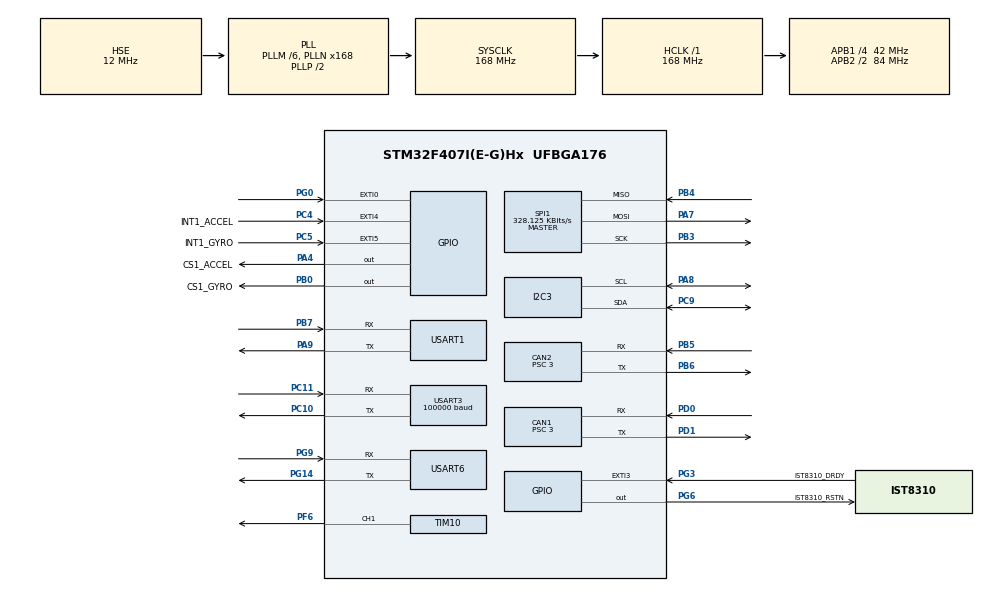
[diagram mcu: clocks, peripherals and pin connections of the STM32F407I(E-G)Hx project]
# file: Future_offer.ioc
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CAN1.BS1=CAN_BS1_10TQ
CAN1.BS2=CAN_BS2_3TQ
CAN1.CalculateBaudRate=1000000
CAN1.CalculateTimeBit=1000
CAN1.CalculateTimeQuantum=71.42857142857143
CAN1.Prescaler=3
CAN2.BS1=CAN_BS1_10TQ
CAN2.BS2=CAN_BS2_3TQ
CAN2.CalculateBaudRate=1000000
CAN2.CalculateTimeBit=1000
CAN2.CalculateTimeQuantum=71.42857142857143
CAN2.Prescaler=3
Dma.Request0=USART3_RX
Dma.Request1=USART6_RX
Dma.Request2=USART6_TX
Dma.Request3=USART1_TX
Dma.Request4=SPI1_RX
Dma.Request5=SPI1_TX
Dma.SPI1_RX.4.Direction=DMA_PERIPH_TO_MEMORY
Dma.SPI1_RX.4.FIFOMode=DMA_FIFOMODE_DISABLE
Dma.SPI1_RX.4.Instance=DMA2_Stream2
Dma.SPI1_RX.4.MemDataAlignment=DMA_MDATAALIGN_BYTE
Dma.SPI1_RX.4.MemInc=DMA_MINC_ENABLE
Dma.SPI1_RX.4.Mode=DMA_NORMAL
Dma.SPI1_RX.4.PeriphDataAlignment=DMA_PDATAALIGN_BYTE
Dma.SPI1_RX.4.PeriphInc=DMA_PINC_DISABLE
Dma.SPI1_RX.4.Priority=DMA_PRIORITY_VERY_HIGH
Dma.SPI1_TX.5.Direction=DMA_MEMORY_TO_PERIPH
Dma.SPI1_TX.5.FIFOMode=DMA_FIFOMODE_DISABLE
Dma.SPI1_TX.5.Instance=DMA2_Stream3
Dma.SPI1_TX.5.MemDataAlignment=DMA_MDATAALIGN_BYTE
Dma.SPI1_TX.5.MemInc=DMA_MINC_ENABLE
Dma.SPI1_TX.5.Mode=DMA_NORMAL
Dma.SPI1_TX.5.PeriphDataAlignment=DMA_PDATAALIGN_BYTE
Dma.SPI1_TX.5.PeriphInc=DMA_PINC_DISABLE
Dma.SPI1_TX.5.Priority=DMA_PRIORITY_HIGH
Dma.USART1_TX.3.Direction=DMA_MEMORY_TO_PERIPH
Dma.USART1_TX.3.FIFOMode=DMA_FIFOMODE_DISABLE
Dma.USART1_TX.3.Instance=DMA2_Stream7
Dma.USART1_TX.3.MemDataAlignment=DMA_MDATAALIGN_BYTE
Dma.USART1_TX.3.MemInc=DMA_MINC_ENABLE
Dma.USART1_TX.3.Mode=DMA_NORMAL
Dma.USART1_TX.3.PeriphDataAlignment=DMA_PDATAALIGN_BYTE
Dma.USART1_TX.3.PeriphInc=DMA_PINC_DISABLE
Dma.USART1_TX.3.Priority=DMA_PRIORITY_MEDIUM
Dma.USART3_RX.0.Direction=DMA_PERIPH_TO_MEMORY
Dma.USART3_RX.0.FIFOMode=DMA_FIFOMODE_DISABLE
Dma.USART3_RX.0.Instance=DMA1_Stream1
Dma.USART3_RX.0.MemDataAlignment=DMA_MDATAALIGN_BYTE
Dma.USART3_RX.0.MemInc=DMA_MINC_ENABLE
Dma.USART3_RX.0.Mode=DMA_CIRCULAR
Dma.USART3_RX.0.PeriphDataAlignment=DMA_PDATAALIGN_BYTE
Dma.USART3_RX.0.PeriphInc=DMA_PINC_DISABLE
Dma.USART3_RX.0.Priority=DMA_PRIORITY_HIGH
Dma.USART6_RX.1.Direction=DMA_PERIPH_TO_MEMORY
Dma.USART6_RX.1.FIFOMode=DMA_FIFOMODE_DISABLE
Dma.USART6_RX.1.Instance=DMA2_Stream1
Dma.USART6_RX.1.MemDataAlignment=DMA_MDATAALIGN_BYTE
Dma.USART6_RX.1.MemInc=DMA_MINC_ENABLE
Dma.USART6_RX.1.Mode=DMA_NORMAL
Dma.USART6_RX.1.PeriphDataAlignment=DMA_PDATAALIGN_BYTE
Dma.USART6_RX.1.PeriphInc=DMA_PINC_DISABLE
Dma.USART6_RX.1.Priority=DMA_PRIORITY_HIGH
Dma.USART6_TX.2.Direction=DMA_MEMORY_TO_PERIPH
Dma.USART6_TX.2.FIFOMode=DMA_FIFOMODE_DISABLE
Dma.USART6_TX.2.Instance=DMA2_Stream6
Dma.USART6_TX.2.MemDataAlignment=DMA_MDATAALIGN_BYTE
Dma.USART6_TX.2.MemInc=DMA_MINC_ENABLE
Dma.USART6_TX.2.Mode=DMA_NORMAL
Dma.USART6_TX.2.PeriphDataAlignment=DMA_PDATAALIGN_BYTE
Dma.USART6_TX.2.PeriphInc=DMA_PINC_DISABLE
Dma.USART6_TX.2.Priority=DMA_PRIORITY_MEDIUM
FREERTOS.INCLUDE_eTaskGetState=1
FREERTOS.INCLUDE_pcTaskGetTaskName=1
FREERTOS.INCLUDE_uxTaskGetStackHighWaterMark=1
FREERTOS.INCLUDE_uxTaskGetStackHighWaterMark2=1
FREERTOS.INCLUDE_vTaskCleanUpResources=1
FREERTOS.INCLUDE_vTaskDelayUntil=1
FREERTOS.INCLUDE_xQueueGetMutexHolder=1
FREERTOS.INCLUDE_xSemaphoreGetMutexHolder=1
FREERTOS.INCLUDE_xTaskAbortDelay=1
FREERTOS.INCLUDE_xTaskGetCurrentTaskHandle=1
FREERTOS.INCLUDE_xTaskGetHandle=1
FREERTOS.Tasks01=defaultTask,0,128,StartDefaultTask,Default,NULL,Dynamic,NULL,NULL;INS_TASK,3,512,INS_Task,Default,NULL,Dynamic,NULL,NULL;CHASSISR_TASK,1,512,ChassiR_Task,Default,NULL,Dynamic,NULL,NULL;CHASSISL_TASK,1,512,ChassisrL_Task,Default,NULL,Dynamic,NULL,NULL;OBSERVE_TASK,2,512,OBSERVE_Task,Default,NULL,Dynamic,NULL,NULL;DT7_TASK,1,128,DT7_Task,Default,NULL,Dynamic,NULL,NULL
I2C3.I2C_Mode=I2C_Fast
Mcu.Family=STM32F4
Mcu.Name=STM32F407I(E-G)Hx
Mcu.Package=UFBGA176
NVIC.CAN1_RX0_IRQn=true\:5\:0\:true\:false\:true\:true\:true\:true\:true
NVIC.CAN2_RX0_IRQn=true\:6\:0\:true\:false\:true\:true\:true\:true\:true
NVIC.DMA1_Stream1_IRQn=true\:5\:0\:false\:false\:true\:true\:false\:true\:true
NVIC.DMA2_Stream1_IRQn=true\:5\:0\:false\:false\:true\:true\:false\:true\:true
NVIC.DMA2_Stream2_IRQn=true\:5\:0\:false\:false\:false\:true\:false\:true\:true
NVIC.DMA2_Stream3_IRQn=true\:5\:0\:true\:false\:false\:true\:false\:true\:true
NVIC.DMA2_Stream6_IRQn=true\:5\:0\:false\:false\:true\:true\:false\:true\:true
NVIC.DMA2_Stream7_IRQn=true\:5\:0\:false\:false\:true\:true\:false\:true\:true
NVIC.EXTI0_IRQn=true\:6\:0\:true\:false\:true\:true\:true\:true\:true
NVIC.EXTI3_IRQn=true\:5\:0\:false\:false\:true\:true\:true\:true\:true
NVIC.EXTI4_IRQn=true\:5\:0\:false\:false\:true\:true\:true\:true\:true
NVIC.EXTI9_5_IRQn=true\:5\:0\:false\:false\:true\:true\:true\:true\:true
NVIC.PriorityGroup=NVIC_PRIORITYGROUP_4
NVIC.TIM2_IRQn=true\:15\:0\:false\:false\:true\:false\:false\:true\:true
NVIC.TimeBase=TIM2_IRQn
NVIC.TimeBaseIP=TIM2
NVIC.USART1_IRQn=true\:5\:0\:false\:false\:true\:true\:true\:true\:true
NVIC.USART3_IRQn=true\:5\:0\:false\:false\:true\:true\:true\:true\:true
NVIC.USART6_IRQn=true\:5\:0\:false\:false\:true\:true\:false\:true\:true
PA13.Mode=Serial_Wire
PA13.Signal=SYS_JTMS-SWDIO
PA14.Mode=Serial_Wire
PA14.Signal=SYS_JTCK-SWCLK
PA4.GPIO_Label=CS1_ACCEL
PA4.GPIO_ModeDefaultOutputPP=GPIO_MODE_OUTPUT_PP
PA4.GPIO_PuPd=GPIO_PULLUP
PA4.GPIO_Speed=GPIO_SPEED_FREQ_HIGH
PA4.PinState=GPIO_PIN_SET
PA4.Signal=GPIO_Output
PA7.GPIO_PuPd=GPIO_PULLUP
PA7.Mode=Full_Duplex_Master
PA7.Signal=SPI1_MOSI
PA8.GPIO_Pu=GPIO_PULLUP
PA8.Mode=I2C
PA8.Signal=I2C3_SCL
PA9.Mode=Asynchronous
PA9.Signal=USART1_TX
PB0.GPIO_Label=CS1_GYRO
PB0.GPIO_PuPd=GPIO_PULLUP
PB0.GPIO_Speed=GPIO_SPEED_FREQ_HIGH
PB0.PinState=GPIO_PIN_SET
PB0.Signal=GPIO_Output
PB13.GPIO_PuPd=GPIO_PULLUP
PB13.Signal=SPI2_SCK
PB14.GPIO_PuPd=GPIO_PULLUP
PB14.Signal=SPI2_MISO
PB15.GPIO_PuPd=GPIO_PULLUP
PB15.Signal=SPI2_MOSI
PB3.GPIO_PuPd=GPIO_PULLUP
PB3.Mode=Full_Duplex_Master
PB3.Signal=SPI1_SCK
PB4.GPIO_PuPd=GPIO_PULLUP
PB4.Mode=Full_Duplex_Master
PB4.Signal=SPI1_MISO
PB5.Mode=CAN_Activate
PB5.Signal=CAN2_RX
PB6.Mode=CAN_Activate
PB6.Signal=CAN2_TX
PB7.Mode=Asynchronous
PB7.Signal=USART1_RX
PC10.GPIO_PuPd=GPIO_PULLUP
PC10.Mode=Asynchronous
PC10.Signal=USART3_TX
PC11.GPIO_PuPd=GPIO_PULLUP
PC11.Mode=Asynchronous
PC11.Signal=USART3_RX
PC14-OSC32_IN.Mode=LSE-External-Oscillator
PC14-OSC32_IN.Signal=RCC_OSC32_IN
PC15-OSC32_OUT.Mode=LSE-External-Oscillator
PC15-OSC32_OUT.Signal=RCC_OSC32_OUT
PC4.GPIO_Label=INT1_ACCEL
PC4.GPIO_ModeDefaultEXTI=GPIO_MODE_IT_FALLING
PC4.GPIO_PuPd=GPIO_PULLUP
PC4.Signal=GPXTI4
PC5.GPIO_Label=INT1_GYRO
PC5.GPIO_ModeDefaultEXTI=GPIO_MODE_IT_FALLING
PC5.GPIO_PuPd=GPIO_PULLUP
PC5.Signal=GPXTI5
PC9.GPIO_Pu=GPIO_PULLUP
PC9.Mode=I2C
PC9.Signal=I2C3_SDA
PD0.Mode=CAN_Activate
PD0.Signal=CAN1_RX
PD1.Mode=CAN_Activate
PD1.Signal=CAN1_TX
PF6.GPIO_PuPd=GPIO_PULLUP
PF6.GPIO_Speed=GPIO_SPEED_FREQ_HIGH
PF6.Signal=S_TIM10_CH1
PG0.GPIO_ModeDefaultEXTI=GPIO_MODE_IT_FALLING
PG0.GPIO_PuPd=GPIO_PULLUP
PG0.Signal=GPXTI0
PG14.Mode=Asynchronous
PG14.Signal=USART6_TX
PG3.GPIO_Label=IST8310_DRDY
PG3.GPIO_ModeDefaultEXTI=GPIO_MODE_IT_FALLING
PG3.GPIO_PuPd=GPIO_PULLUP
PG3.Signal=GPXTI3
PG6.GPIO_Label=IST8310_RSTN
PG6.GPIO_PuPd=GPIO_PULLUP
PG6.GPIO_Speed=GPIO_SPEED_FREQ_MEDIUM
PG6.PinState=GPIO_PIN_SET
PG6.Signal=GPIO_Output
PG9.Mode=Asynchronous
PG9.Signal=USART6_RX
PH0-OSC_IN.Mode=HSE-External-Oscillator
PH0-OSC_IN.Signal=RCC_OSC_IN
PH1-OSC_OUT.Mode=HSE-External-Oscillator
PH1-OSC_OUT.Signal=RCC_OSC_OUT
ProjectManager.HeapSize=0x200
ProjectManager.StackSize=0x400
ProjectManager.TargetToolchain=MDK-ARM V5.32
RCC.48MHZClocksFreq_Value=84000000
RCC.AHBFreq_Value=168000000
RCC.APB1CLKDivider=RCC_HCLK_DIV4
RCC.APB1Freq_Value=42000000
RCC.APB1TimFreq_Value=84000000
RCC.APB2CLKDivider=RCC_HCLK_DIV2
RCC.APB2Freq_Value=84000000
RCC.APB2TimFreq_Value=168000000
RCC.CortexFreq_Value=168000000
RCC.HCLKFreq_Value=168000000
RCC.HSE_VALUE=12000000
RCC.HSI_VALUE=16000000
RCC.PLLM=6
RCC.PLLN=168
RCC.PLLSourceVirtual=RCC_PLLSOURCE_HSE
RCC.RCC_RTC_Clock_Source=RCC_RTCCLKSOURCE_LSE
RCC.RCC_RTC_Clock_SourceVirtual=RCC_RTCCLKSOURCE_LSE
RCC.RCC_RTC_Clock_Source_FROM_HSE=RCC_RTCCLKSOURCE_HSE_DIV8
RCC.SYSCLKFreq_VALUE=168000000
RCC.SYSCLKSource=RCC_SYSCLKSOURCE_PLLCLK
RCC.VCOOutputFreq_Value=336000000
SH.S_TIM10_CH1.0=TIM10_CH1,PWM Generation1 CH1
SPI1.BaudRatePrescaler=SPI_BAUDRATEPRESCALER_256
SPI1.CLKPhase=SPI_PHASE_2EDGE
SPI1.CLKPolarity=SPI_POLARITY_HIGH
SPI1.CalculateBaudRate=328.125 KBits/s
SPI1.Direction=SPI_DIRECTION_2LINES
SPI1.Mode=SPI_MODE_MASTER
SPI1.VirtualType=VM_MASTER
TIM10.AutoReloadPreload=TIM_AUTORELOAD_PRELOAD_DISABLE
TIM10.Channel=TIM_CHANNEL_1
TIM10.OC1Preload_PWM=ENABLE
TIM10.Period=4999
USART1.VirtualMode=VM_ASYNC
USART3.BaudRate=100000
USART3.Parity=PARITY_NONE
USART3.VirtualMode=VM_ASYNC
USART6.VirtualMode=VM_ASYNC
VP_FREERTOS_VS_CMSIS_V1.Mode=CMSIS_V1
VP_SYS_VS_tim2.Mode=TIM2
VP_TIM10_VS_ClockSourceINT.Mode=Enable_Timer
board=custom

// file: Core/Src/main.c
/* USER CODE BEGIN Header */
/**
  ******************************************************************************
  * @file           : main.c
  * @brief          : Main program body
  ******************************************************************************
  * @attention
  *
  * Copyright (c) 2024 STMicroelectronics.
  * All rights reserved.
  *
  * This software is licensed under terms that can be found in the LICENSE file
  * in the root directory of this software component.
  * If no LICENSE file comes with this software, it is provided AS-IS.
  *
  ******************************************************************************
  */
/* USER CODE END Header */
#include "main.h"
#include "cmsis_os.h"
#include "can.h"
#include "dma.h"
#include "i2c.h"
#include "spi.h"
#include "tim.h"
#include "usart.h"
#include "gpio.h"

/* USER CODE BEGIN Includes */
#include "INS_task.h"
#include "chassisL_task.h"
#include "chassisR_task.h"
#include "DT7_task.h"
#include "BSP_DWT.h"

/* USER CODE END Includes */

/* USER CODE BEGIN PM */
#define STM32F407IGHx_MAX_SYSTICK (uint32_t)168
#define STM32FH23VGHx_MAX_SYSTICK (uint32_t)480
/* USER CODE END PM */

void SystemClock_Config(void);
void MX_FREERTOS_Init(void);

int main(void)
{

  /* MCU Configuration--------------------------------------------------------*/

  /* Reset of all peripherals, Initializes the Flash interface and the Systick. */
  HAL_Init();

  /* Configure the system clock */
  SystemClock_Config();

  /* Initialize all configured peripherals */
  MX_GPIO_Init();
  MX_DMA_Init();
  MX_CAN1_Init();
  MX_CAN2_Init();
  MX_USART3_UART_Init();
  MX_USART6_UART_Init();
  MX_USART1_UART_Init();
  MX_SPI1_Init();
  MX_TIM10_Init();
  MX_I2C3_Init();
  /* USER CODE BEGIN 2 */
	DWT_Init(STM32F407IGHx_MAX_SYSTICK);
	delay_init();
  /* USER CODE END 2 */

  /* Call init function for freertos objects (in cmsis_os2.c) */
  MX_FREERTOS_Init();

  /* Start scheduler */
  osKernelStart();

  /* We should never get here as control is now taken by the scheduler */

  /* Infinite loop */
  while (1)
  {

  }
}

void SystemClock_Config(void)
{
  RCC_OscInitTypeDef RCC_OscInitStruct = {0};
  RCC_ClkInitTypeDef RCC_ClkInitStruct = {0};

  /** Configure the main internal regulator output voltage
  */
  __HAL_RCC_PWR_CLK_ENABLE();
  __HAL_PWR_VOLTAGESCALING_CONFIG(PWR_REGULATOR_VOLTAGE_SCALE1);

  /** Initializes the RCC Oscillators according to the specified parameters
  * in the RCC_OscInitTypeDef structure.
  */
  RCC_OscInitStruct.OscillatorType = RCC_OSCILLATORTYPE_HSE;
  RCC_OscInitStruct.HSEState = RCC_HSE_ON;
  RCC_OscInitStruct.PLL.PLLState = RCC_PLL_ON;
  RCC_OscInitStruct.PLL.PLLSource = RCC_PLLSOURCE_HSE;
  RCC_OscInitStruct.PLL.PLLM = 6;
  RCC_OscInitStruct.PLL.PLLN = 168;
  RCC_OscInitStruct.PLL.PLLP = RCC_PLLP_DIV2;
  RCC_OscInitStruct.PLL.PLLQ = 4;
  if (HAL_RCC_OscConfig(&RCC_OscInitStruct) != HAL_OK)
  {
    Error_Handler();
  }

  /** Initializes the CPU, AHB and APB buses clocks
  */
  RCC_ClkInitStruct.ClockType = RCC_CLOCKTYPE_HCLK|RCC_CLOCKTYPE_SYSCLK
                              |RCC_CLOCKTYPE_PCLK1|RCC_CLOCKTYPE_PCLK2;
  RCC_ClkInitStruct.SYSCLKSource = RCC_SYSCLKSOURCE_PLLCLK;
  RCC_ClkInitStruct.AHBCLKDivider = RCC_SYSCLK_DIV1;
  RCC_ClkInitStruct.APB1CLKDivider = RCC_HCLK_DIV4;
  RCC_ClkInitStruct.APB2CLKDivider = RCC_HCLK_DIV2;

  if (HAL_RCC_ClockConfig(&RCC_ClkInitStruct, FLASH_LATENCY_5) != HAL_OK)
  {
    Error_Handler();
  }
}

void HAL_TIM_PeriodElapsedCallback(TIM_HandleTypeDef *htim)
{
  if (htim->Instance == TIM2) {
    HAL_IncTick();
  }
}

void Error_Handler(void)
{
  __disable_irq();
  while (1)
  {
  }
}

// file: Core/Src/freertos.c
/* USER CODE BEGIN Header */
/**
  ******************************************************************************
  * File Name          : freertos.c
  * Description        : Code for freertos applications
  ******************************************************************************
  * @attention
  *
  * Copyright (c) 2024 STMicroelectronics.
  * All rights reserved.
  *
  * This software is licensed under terms that can be found in the LICENSE file
  * in the root directory of this software component.
  * If no LICENSE file comes with this software, it is provided AS-IS.
  *
  ******************************************************************************
  */
/* USER CODE END Header */

#include "FreeRTOS.h"
#include "task.h"
#include "main.h"
#include "cmsis_os.h"

/* USER CODE BEGIN Includes */
#include "INS_task.h"
#include "chassisL_task.h"
#include "chassisR_task.h"
#include "DT7_task.h"
/* USER CODE END Includes */

osThreadId defaultTaskHandle;
osThreadId INS_TASKHandle;
osThreadId CHASSISR_TASKHandle;
osThreadId CHASSISL_TASKHandle;
osThreadId OBSERVE_TASKHandle;
osThreadId DT7_TASKHandle;

void StartDefaultTask(void const * argument);
void INS_Task(void const * argument);
void ChassiR_Task(void const * argument);
void ChassisrL_Task(void const * argument);
void OBSERVE_Task(void const * argument);
void DT7_Task(void const * argument);

void MX_FREERTOS_Init(void); /* (MISRA C 2004 rule 8.1) */

/* GetIdleTaskMemory prototype (linked to static allocation support) */
void vApplicationGetIdleTaskMemory( StaticTask_t **ppxIdleTaskTCBBuffer, StackType_t **ppxIdleTaskStackBuffer, uint32_t *pulIdleTaskStackSize );

/* USER CODE BEGIN GET_IDLE_TASK_MEMORY */
static StaticTask_t xIdleTaskTCBBuffer;
static StackType_t xIdleStack[configMINIMAL_STACK_SIZE];

void vApplicationGetIdleTaskMemory( StaticTask_t **ppxIdleTaskTCBBuffer, StackType_t **ppxIdleTaskStackBuffer, uint32_t *pulIdleTaskStackSize )
{
  *ppxIdleTaskTCBBuffer = &xIdleTaskTCBBuffer;
  *ppxIdleTaskStackBuffer = &xIdleStack[0];
  *pulIdleTaskStackSize = configMINIMAL_STACK_SIZE;
  /* place for user code */
}
/* USER CODE END GET_IDLE_TASK_MEMORY */

void MX_FREERTOS_Init(void) {

  /* Create the thread(s) */
  /* definition and creation of defaultTask */
  osThreadDef(defaultTask, StartDefaultTask, osPriorityNormal, 0, 128);
  defaultTaskHandle = osThreadCreate(osThread(defaultTask), NULL);

  /* definition and creation of INS_TASK */
  osThreadDef(INS_TASK, INS_Task, osPriorityRealtime, 0, 512);
  INS_TASKHandle = osThreadCreate(osThread(INS_TASK), NULL);

  /* definition and creation of CHASSISR_TASK */
  osThreadDef(CHASSISR_TASK, ChassiR_Task, osPriorityAboveNormal, 0, 512);
  CHASSISR_TASKHandle = osThreadCreate(osThread(CHASSISR_TASK), NULL);

  /* definition and creation of CHASSISL_TASK */
  osThreadDef(CHASSISL_TASK, ChassisrL_Task, osPriorityAboveNormal, 0, 512);
  CHASSISL_TASKHandle = osThreadCreate(osThread(CHASSISL_TASK), NULL);

  /* definition and creation of OBSERVE_TASK */
  osThreadDef(OBSERVE_TASK, OBSERVE_Task, osPriorityHigh, 0, 512);
  OBSERVE_TASKHandle = osThreadCreate(osThread(OBSERVE_TASK), NULL);

  /* definition and creation of DT7_TASK */
  osThreadDef(DT7_TASK, DT7_Task, osPriorityAboveNormal, 0, 128);
  DT7_TASKHandle = osThreadCreate(osThread(DT7_TASK), NULL);

}

void StartDefaultTask(void const * argument)
{
  for(;;)
  {
    osDelay(1);
  }
}

void INS_Task(void const * argument)
{
  /* USER CODE BEGIN INS_Task */
  /* Infinite loop */
  for(;;)
  {
		INS_task();
    osDelay(1);
  }
  /* USER CODE END INS_Task */
}

void ChassiR_Task(void const * argument)
{
  /* USER CODE BEGIN ChassiR_Task */
  /* Infinite loop */
  for(;;)
  {
		chassisR_task();
    osDelay(1);
  }
  /* USER CODE END ChassiR_Task */
}

void ChassisrL_Task(void const * argument)
{
  /* USER CODE BEGIN ChassisrL_Task */
  /* Infinite loop */
  for(;;)
  {
		chassisL_task();
    osDelay(1);
  }
  /* USER CODE END ChassisrL_Task */
}

void OBSERVE_Task(void const * argument)
{
  /* USER CODE BEGIN OBSERVE_Task */
  /* Infinite loop */
  for(;;)
  {
		//Observe_task();
    osDelay(1);
  }
  /* USER CODE END OBSERVE_Task */
}

void DT7_Task(void const * argument)
{
  /* USER CODE BEGIN DT7_Task */
  /* Infinite loop */
  for(;;)
  {
		DT7_task();
    osDelay(1);
  }
  /* USER CODE END DT7_Task */
}
